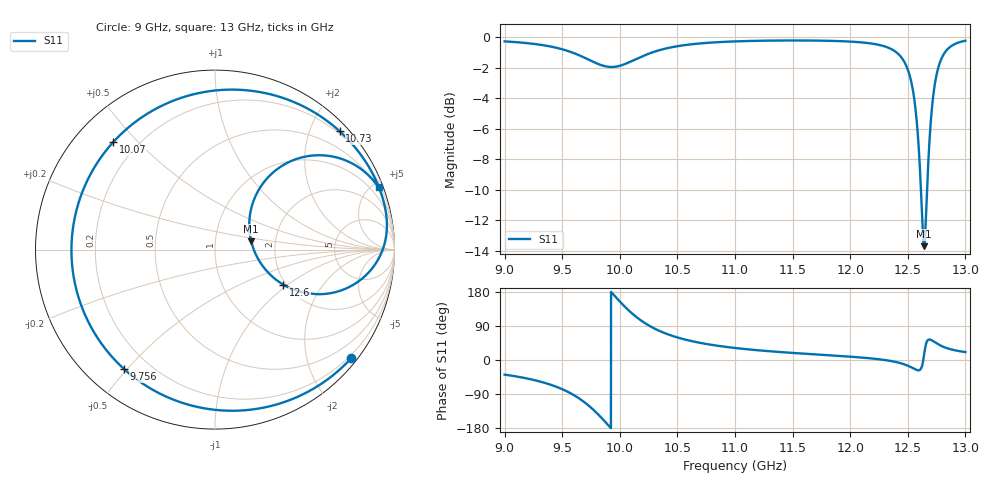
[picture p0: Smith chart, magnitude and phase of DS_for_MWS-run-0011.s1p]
! TOUCHSTONE file generated by CST DESIGN STUDIO
! Date and time: Tue Feb  4 18:29:51 2025
! Project name: C:\Work\MatlabApps\UnitCellOptimizationMatlab\CST\unitcell.cst
! Tree item: Tasks\Sweep1\SPara1\S-Parameters
! Header version: 2024
! Port assignment regex: !\s*Touchstone port\s*([0-9]+)\s*=\s*(CST MWS port|CST DES external port|CST DES block port)\s*(.+)\s* \(\"(.*)\"\)(\s*mode\s*([0-9]+))?.*
! Touchstone port assignment:
! Touchstone port 1 = CST DES external port 1 ("")
# GHz S MA R 50
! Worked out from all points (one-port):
!   4001 points, 9 GHz to 13 GHz, reference 50 ohm
!   lowest |S11| = -13.7 dB at 12.64 GHz (marker M1), VSWR 1.52, Z = 74.8 + j7.29 ohm
!   |S11| at or under -10 dB: 12.6141 GHz to 12.66731 GHz (53.21 MHz wide, 0.421 % of centre)
!   S11 on the Smith chart (normalised r, x): 9 GHz: 0.14, -2.85; 9.756 GHz: 0.11, -0.49; 10.07 GHz: 0.11, +0.43; 10.73 GHz: 0.16, +2.50; 12.6 GHz: 1.94, -0.93; 13 GHz: 0.38, +5.39
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9  0.9707 -38.6
9.282  0.9492 -54.8
9.5  0.9145 -77.0
9.643  0.8753 -100.6
9.756  0.8363 -127.3
9.886  0.8026 -167.4
9.942  0.8001 173.6
10  0.8071 154.3
10.068  0.8248 133.4
10.149  0.8518 112.2
10.238  0.8806 93.6
10.364  0.9126 74.1
10.5  0.9359 59.5
10.729  0.958 43.4
11  0.9704 31.7
11.5  0.9773 18.7
12  0.969 8.8
12.345  0.9203 -2.2
12.5  0.7841 -15.0
12.556  0.6292 -23.3
12.596  0.4287 -27.2
12.626  0.2486 -12.9
12.641  0.2068 13.0
12.656  0.2484 39.7
12.695  0.502 53.7
12.742  0.7289 45.5
12.843  0.9131 30.9
13  0.9753 20.9
